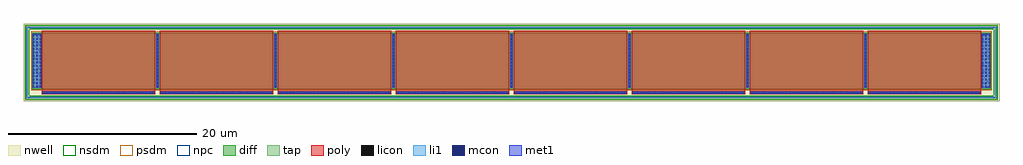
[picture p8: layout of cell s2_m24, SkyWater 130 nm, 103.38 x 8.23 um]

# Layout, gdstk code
import gdstk
lib = gdstk.Library(unit=1e-6, precision=1e-09)
def R(c, l, rs):  # rectangles x0, y0, x1, y1
    for r in rs: c.add(gdstk.rectangle(r[:2], r[2:], *l))
def A(c, l, x, y, w, h, nx, ny, dx, dy):  # array of equal rectangles
    R(c, l, [(x+i*dx, y+j*dy, x+i*dx+w, y+j*dy+h) for i in range(nx) for j in range(ny)])
def P(c, l, *ps):  # polygons
    for p in ps: c.add(gdstk.Polygon(p, *l))
nwell = (64, 20)
diff = (65, 20)
tap = (65, 44)
poly = (66, 20)
licon = (66, 44)
li1 = (67, 20)
mcon = (67, 44)
met1 = (68, 20)
nsdm = (93, 44)
psdm = (94, 20)
npc = (95, 20)

s2_m24 = lib.new_cell('s2_m24')
R(s2_m24, nwell, [(-0.92,-1.285,102.46,6.945)])
R(s2_m24, diff, [(0,0,101.54,6)])
P(s2_m24, tap, [(-0.615,-0.98),(-0.615,6.47),(-0.445,6.47),(-0.445,-0.81),(101.985,-0.81),(101.985,6.47),(-0.615,6.47),(-0.615,6.64),(102.155,6.64),(102.155,-0.98)])
A(s2_m24, poly, 1.02, -0.53, 12, 0.33, 8, 1, 12.5, 0)
A(s2_m24, poly, 1.02, -0.2, 12, 6.4, 8, 1, 12.5, 0)
A(s2_m24, licon, -0.075, -0.98, 0.17, 0.17, 283, 2, 0.36, 7.45)
A(s2_m24, licon, -0.615, -0.495, 0.17, 0.17, 1, 19, 0, 0.36)
A(s2_m24, licon, 101.985, -0.495, 0.17, 0.17, 1, 19, 0, 0.36)
A(s2_m24, licon, 1.175, -0.45, 0.17, 0.17, 33, 1, 0.36, 0)
A(s2_m24, licon, 13.675, -0.45, 0.17, 0.17, 33, 1, 0.36, 0)
A(s2_m24, licon, 26.175, -0.45, 0.17, 0.17, 33, 1, 0.36, 0)
A(s2_m24, licon, 38.675, -0.45, 0.17, 0.17, 33, 1, 0.36, 0)
A(s2_m24, licon, 51.175, -0.45, 0.17, 0.17, 33, 1, 0.36, 0)
A(s2_m24, licon, 63.675, -0.45, 0.17, 0.17, 33, 1, 0.36, 0)
A(s2_m24, licon, 76.175, -0.45, 0.17, 0.17, 33, 1, 0.36, 0)
A(s2_m24, licon, 88.675, -0.45, 0.17, 0.17, 33, 1, 0.36, 0)
A(s2_m24, licon, 0.065, 0.215, 0.17, 0.17, 3, 16, 0.36, 0.36)
A(s2_m24, licon, 13.185, 0.215, 0.17, 0.17, 7, 16, 12.5, 0.36)
A(s2_m24, licon, 100.585, 0.215, 0.17, 0.17, 3, 16, 0.36, 0.36)
A(s2_m24, li1, 1.095, -0.45, 11.85, 0.17, 8, 1, 12.5, 0)
A(s2_m24, li1, 13.185, 0.135, 0.17, 5.73, 7, 1, 12.5, 0)
R(s2_m24, li1, [(0.065,0.135,0.955,5.865), (100.585,0.135,101.475,5.865)])
P(s2_m24, li1, [(-0.615,-0.98),(-0.615,6.47),(-0.445,6.47),(-0.445,-0.81),(101.985,-0.81),(101.985,6.47),(-0.615,6.47),(-0.615,6.64),(102.155,6.64),(102.155,-0.98)])
A(s2_m24, mcon, 1.175, -0.45, 0.17, 0.17, 33, 1, 0.36, 0)
A(s2_m24, mcon, 13.675, -0.45, 0.17, 0.17, 33, 1, 0.36, 0)
A(s2_m24, mcon, 26.175, -0.45, 0.17, 0.17, 33, 1, 0.36, 0)
A(s2_m24, mcon, 38.675, -0.45, 0.17, 0.17, 33, 1, 0.36, 0)
A(s2_m24, mcon, 51.175, -0.45, 0.17, 0.17, 33, 1, 0.36, 0)
A(s2_m24, mcon, 63.675, -0.45, 0.17, 0.17, 33, 1, 0.36, 0)
A(s2_m24, mcon, 76.175, -0.45, 0.17, 0.17, 33, 1, 0.36, 0)
A(s2_m24, mcon, 88.675, -0.45, 0.17, 0.17, 33, 1, 0.36, 0)
A(s2_m24, mcon, 0.065, 0.215, 0.17, 0.17, 3, 16, 0.36, 0.36)
A(s2_m24, mcon, 13.185, 0.215, 0.17, 0.17, 7, 16, 12.5, 0.36)
A(s2_m24, mcon, 100.585, 0.215, 0.17, 0.17, 3, 16, 0.36, 0.36)
A(s2_m24, met1, 1.115, -0.48, 11.81, 0.23, 8, 1, 12.5, 0)
A(s2_m24, met1, 13.155, 0.155, 0.23, 5.69, 7, 1, 12.5, 0)
R(s2_m24, met1, [(0.035,0.155,0.985,5.845), (100.555,0.155,101.505,5.845)])
P(s2_m24, nsdm, [(-0.74,-1.105),(-0.74,6.345),(-0.32,6.345),(-0.32,-0.685),(101.86,-0.685),(101.86,6.345),(-0.74,6.345),(-0.74,6.765),(102.28,6.765),(102.28,-1.105)])
R(s2_m24, psdm, [(-0.125,-0.125,101.665,6.125)])
A(s2_m24, npc, 1.01, -0.54, 12.02, 0.35, 8, 1, 12.5, 0)

lib.write_gds('s2_m24.gds')
